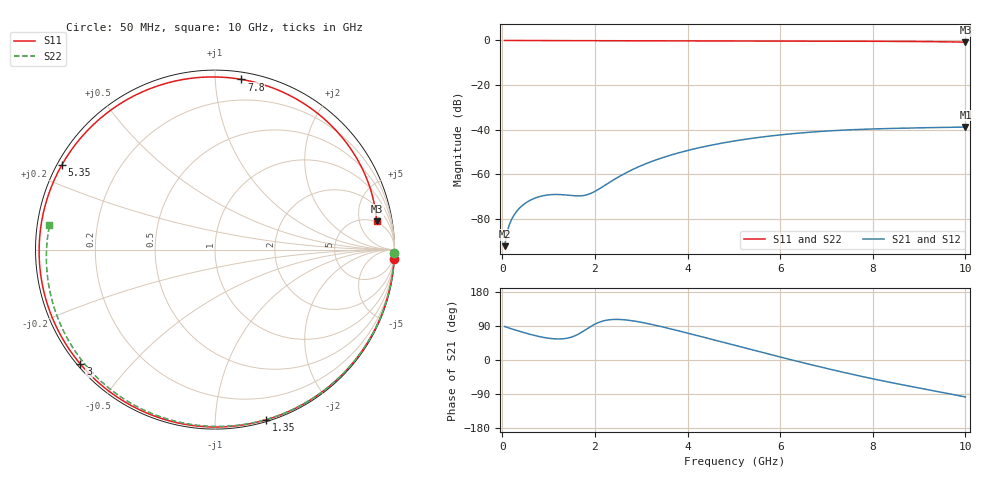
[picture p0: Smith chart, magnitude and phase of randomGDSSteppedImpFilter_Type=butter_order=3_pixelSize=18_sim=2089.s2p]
! freq	dB(S11)	phase(S11)	dB(S12)	phase(S12)
!  dB(S21)	phase(S21)	dB(S22)	phase(S22)
!S-par simulation data
#  GHz  S  DB  R 50
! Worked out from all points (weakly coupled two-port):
!   200 points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, 50 MHz to 10 GHz, reference 50 ohm
!   highest |S21| = -38.80 dB at 10 GHz (marker M1); lowest = -92.1 dB at 50 MHz (marker M2)
!   lowest |S11| = -0.8 dB at 10 GHz (marker M3), VSWR 22.27, Z = 239 + j455 ohm
!   |S11| at or under -10 dB: nowhere
!   |S22| runs from -0.6 to 0.0 dB; largest |S21 - S12| = 0
!   S11 on the Smith chart (normalised r, x): 50 MHz: 0, -39; 1.35 GHz: 0.01, -1.35; 3 GHz: 0.01, -0.37; 5.35 GHz: 0.01, +0.26; 7.8 GHz: 0.05, +1.17; 10 GHz: 5, +9
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0.05  -0.00 -2.9  -92.13 88.4  -92.13 88.4  -0.00 -1.1
0.2  -0.02 -11.6  -80.17 82.2  -80.17 82.2  -0.01 -4.2
0.4  -0.03 -23.0  -74.51 74.7  -74.51 74.7  -0.01 -8.4
0.7  -0.05 -39.7  -70.65 64.7  -70.65 64.7  -0.02 -14.7
1  -0.07 -55.6  -69.15 57.4  -69.15 57.4  -0.03 -20.9
1.35  -0.09 -73.2  -69.16 56.5  -69.16 56.5  -0.04 -28.2
1.75  -0.10 -91.6  -69.47 76.0  -69.47 76.0  -0.05 -36.3
1.95  -0.11 -100.2  -68.13 91.3  -68.13 91.3  -0.05 -40.4
2.3  -0.12 -114.3  -63.75 105.9  -63.75 105.9  -0.06 -47.4
3  -0.14 -139.6  -56.06 99.5  -56.06 99.5  -0.08 -61.1
3.4  -0.15 -152.7  -52.91 89.1  -52.91 89.1  -0.09 -68.8
4.2  -0.17 -176.8  -48.28 64.7  -48.28 64.7  -0.12 -83.7
5.05  -0.21 159.3  -44.89 37.7  -44.89 37.7  -0.15 -99.1
5.35  -0.22 151.0  -43.95 28.2  -43.95 28.2  -0.17 -104.4
6.05  -0.25 131.7  -42.19 6.4  -42.19 6.4  -0.21 -116.7
6.7  -0.29 113.4  -41.00 -13.3  -41.00 -13.3  -0.25 -128.0
7.25  -0.32 97.5  -40.28 -29.2  -40.28 -29.2  -0.29 -137.5
7.8  -0.36 81.2  -39.77 -44.3  -39.77 -44.3  -0.34 -147.1
8.35  -0.41 64.3  -39.43 -58.4  -39.43 -58.4  -0.40 -156.9
8.8  -0.46 50.0  -39.22 -69.3  -39.22 -69.3  -0.45 -165.1
9.25  -0.53 35.4  -39.04 -79.7  -39.04 -79.7  -0.51 -173.6
10  -0.78 9.9  -38.80 -97.5  -38.80 -97.5  -0.61 171.7
